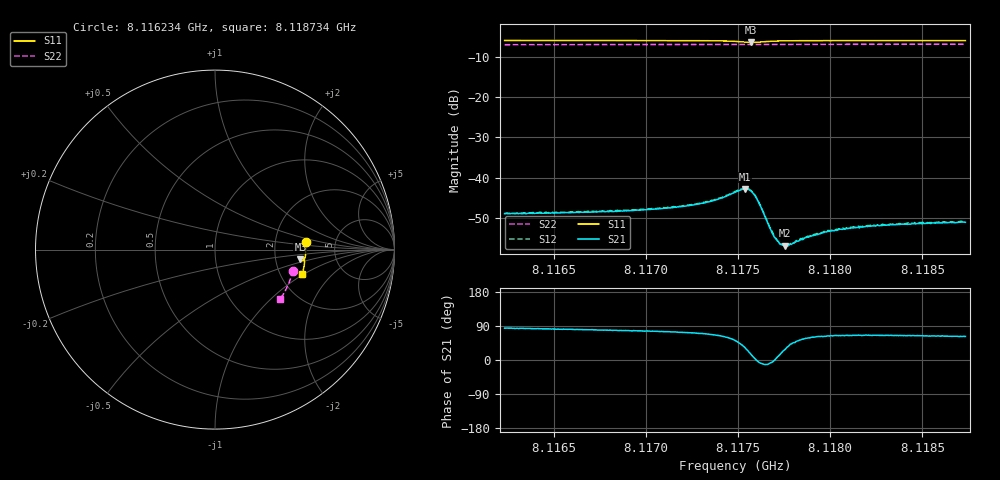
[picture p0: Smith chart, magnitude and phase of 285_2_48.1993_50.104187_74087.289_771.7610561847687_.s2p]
#  HZ  S  RI  R  50.00
! Rohde & Schwarz Vector Network Analyzer
! Rohde-Schwarz,ZNB20-2Port,1311601062101988,3.16
! Created: UTC 3/20/2024, 11:48:50 AM
! freq[Hz]  re:S11  im:S11  re:S21  im:S21  re:S12  im:S12  re:S22  im:S22
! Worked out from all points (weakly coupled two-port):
!   401 points, 8.116234 GHz to 8.118734 GHz, reference 50 ohm
!   highest |S21| = -42.83 dB at 8.11754 GHz (marker M1); lowest = -57.0 dB at 8.117752 GHz (marker M2)
!   lowest |S11| = -6.4 dB at 8.117571 GHz (marker M3), VSWR 2.84, Z = 139 - j19.4 ohm
!   |S11| at or under -10 dB: nowhere
!   |S22| runs from -7.0 to -6.8 dB; largest |S21 - S12| = 0.00019
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8.1162336e9  0.5054 0.0408  0.000375 0.00353  0.000424 0.00355  0.4334 -0.1175
8.1166524e9  0.5064 0.00909  0.000631 0.00366  0.000693 0.00371  0.426 -0.1455
8.1170711e9  0.505 -0.0235  0.00103 0.00396  0.0011 0.00402  0.4166 -0.1732
8.1171961e9  0.5037 -0.0339  0.00128 0.00416  0.0013 0.00422  0.4135 -0.1815
8.1173211e9  0.5013 -0.0452  0.00171 0.00454  0.0018 0.00465  0.4103 -0.1897
8.1174023e9  0.4983 -0.0535  0.00241 0.00494  0.00252 0.005  0.4078 -0.195
8.1174836e9  0.4904 -0.0615  0.00405 0.00514  0.00424 0.0052  0.4053 -0.2001
8.1175398e9  0.4795 -0.0608  0.00616 0.00376  0.00631 0.00376  0.4033 -0.2034
8.1175711e9  0.4759 -0.0539  0.00656 0.00168  0.00668 0.00162  0.4023 -0.2048
8.1175898e9  0.4775 -0.0494  0.00603 0.000455  0.00612 0.000356  0.4018 -0.2059
8.1176086e9  0.4812 -0.0463  0.00504 -0.000373  0.00515 -0.00041  0.4016 -0.2069
8.1176836e9  0.4942 -0.0503  0.00206 -0.000224  0.00216 -0.00022  0.3999 -0.2118
8.1177023e9  0.4958 -0.0528  0.00176 5.45e-05  0.00177 4.19e-05  0.3996 -0.2129
8.1177273e9  0.497 -0.0558  0.00144 0.000367  0.0015 0.000377  0.3987 -0.2145
8.1177523e9  0.498 -0.0589  0.00127 0.000631  0.00129 0.000649  0.398 -0.2162
8.1177836e9  0.4985 -0.0623  0.00111 0.000988  0.00116 0.000975  0.3971 -0.2182
8.1178273e9  0.4988 -0.0669  0.00102 0.00126  0.00101 0.00129  0.3958 -0.2211
8.1179023e9  0.4987 -0.074  0.000937 0.00165  0.000969 0.00167  0.3934 -0.2257
8.1179773e9  0.498 -0.0805  0.00097 0.00187  0.001 0.00189  0.3909 -0.2305
8.1180585e9  0.4971 -0.0873  0.000987 0.00204  0.00101 0.00208  0.3884 -0.2356
8.118321e9  0.4931 -0.1077  0.00109 0.00232  0.00111 0.00235  0.3789 -0.2515
8.1187335e9  0.4853 -0.1381  0.00129 0.00245  0.00134 0.0025  0.3631 -0.2758
